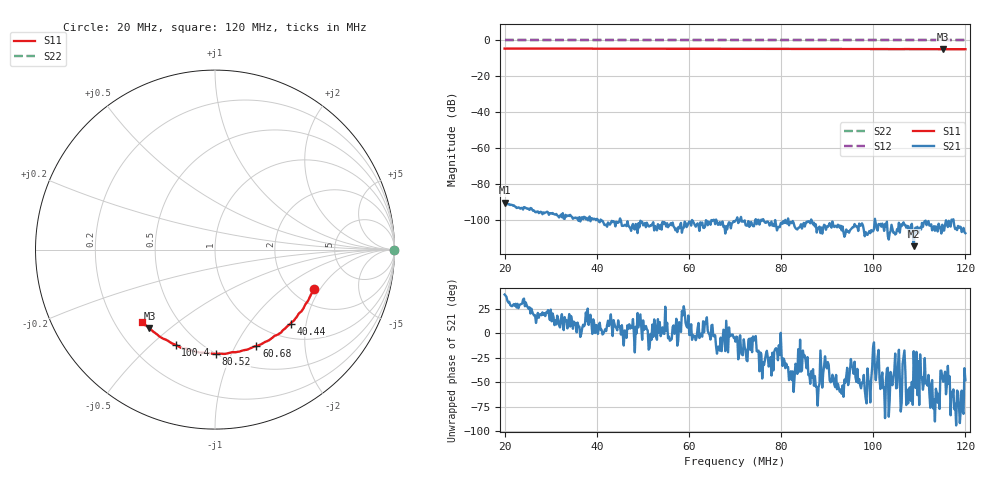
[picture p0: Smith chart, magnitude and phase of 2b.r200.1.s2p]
! Anritsu VNA Master:  Model: MS2036C/10/77
! SN:  1601066
! /card0/usr/18may27.balun/252b.r200.s2p
! Existing Calibration Information:
! TYPE:  Current Settings,  Active Cal Settings
! TIME:  05/27/2018 12:08:29 PM,  05/27/2018 11:54:56 AM
! INTERNAL TEMP:  51.5 C,  49.3 C
! # POINTS:  500,  500
! START FREQ:  20.000 MHz,  20.000 MHz
! STOP FREQ:  120.000 MHz,  120.000 MHz
! SOURCE POWER:  High,  High
! IFBW:  50 Hz,  50 Hz
! AVG FACTOR:  1 ,  1
! REF PLANE 1:  0 mm,  0 mm
! REF PLANE 2:  0 mm,  0 mm
! CAL TYPE:  Full S11,  Full S11
! CAL METHOD:  SOLT,  SOLT
! CAL LINE TYPE:  Coax,  Coax
! DUT PORT 1:  K-Conn(M),  K-Conn(M)
! DUT PORT 2:  K-Conn(M),  K-Conn(M)
! CAL STATUS:  OK: Accuracy High,  --
# GHZ S DB R 50.0
! FREQ.GHZ  S11DB  S11A  S21DB  S21A  S12DB  S12A  S22DB  S22A
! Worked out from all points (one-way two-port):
!   500 points, 20 MHz to 120 MHz, reference 50 ohm
!   highest |S21| = -90.46 dB at 20 MHz (marker M1); lowest = -114.8 dB at 108.8 MHz (marker M2)
!   lowest |S11| = -4.9 dB at 115.2 MHz (marker M3), VSWR 3.65, Z = 16.4 - j21.3 ohm
!   |S11| at or under -10 dB: nowhere
!   |S22| runs from 0.0 to 0.0 dB; largest |S21 - S12| = 1
!   S11 on the Smith chart (normalised r, x): 20 MHz: 2.59, -1.76; 40.44 MHz: 1.29, -1.63; 60.68 MHz: 0.75, -1.22; 80.52 MHz: 0.50, -0.87; 100.4 MHz: 0.38, -0.60; 120 MHz: 0.32, -0.38
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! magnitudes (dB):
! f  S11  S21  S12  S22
! 20 MHz  -4.5  -90.5  0.0  0.0
! 32.42 MHz  -4.6  -98.6  0.0  0.0
! 34.43 MHz  -4.6  -98.0  0.0  0.0
! 36.83 MHz  -4.6  -98.6  0.0  0.0
! 40.44 MHz  -4.6  -101.0  0.0  0.0
! 44.85 MHz  -4.6  -101.2  0.0  0.0
! 46.85 MHz  -4.6  -103.2  0.0  0.0
! 50.66 MHz  -4.7  -104.2  0.0  0.0
! 53.47 MHz  -4.6  -103.5  0.0  0.0
! 60.68 MHz  -4.7  -100.2  0.0  0.0
! 70.1 MHz  -4.7  -100.5  0.0  0.0
! 72.71 MHz  -4.7  -103.3  0.0  0.0
! 76.31 MHz  -4.7  -100.9  0.0  0.0
! 80.52 MHz  -4.7  -100.7  0.0  0.0
! 86.73 MHz  -4.8  -101.2  0.0  0.0
! 94.15 MHz  -4.8  -105.5  0.0  0.0
! 96.95 MHz  -4.7  -102.1  0.0  0.0
! 100.4 MHz  -4.8  -99.5  0.0  0.0
! 103.4 MHz  -4.8  -111.1  0.0  0.0
! 108.8 MHz  -4.8  -114.8  0.0  0.0
! 115.2 MHz  -4.9  -106.1  0.0  0.0
! 120 MHz  -4.9  -107.5  0.0  0.0
